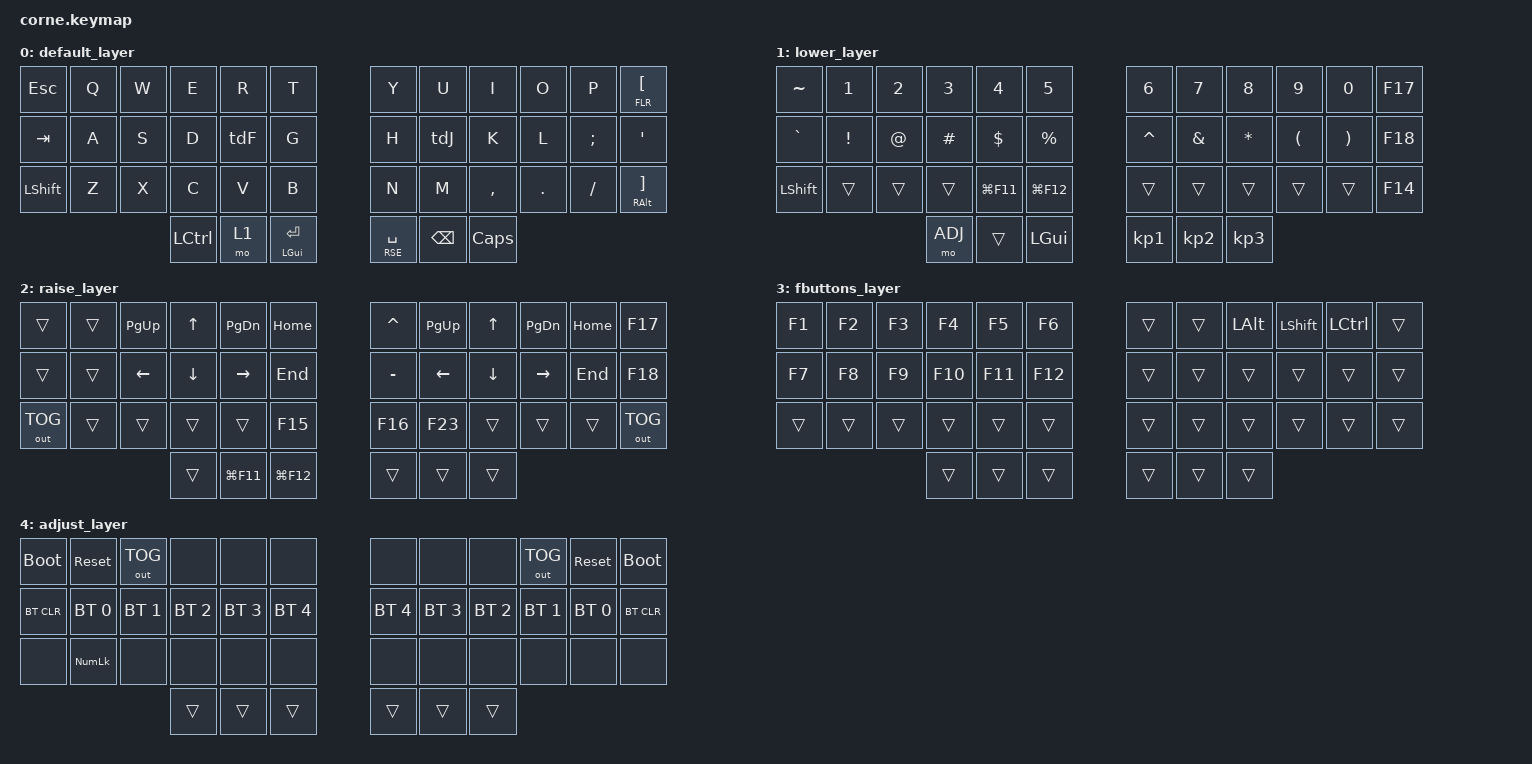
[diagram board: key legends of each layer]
/*
 * Copyright (c) 2020 The ZMK Contributors
 *
 * SPDX-License-Identifier: MIT
 */

#include <behaviors.dtsi>
#include <dt-bindings/zmk/keys.h>
#include <dt-bindings/zmk/bt.h>
#include <dt-bindings/zmk/outputs.h>
#include <behaviors.dtsi>

#define DEF 0
#define LWR 1
#define RSE 2
#define FLR 3
#define ADJ 4

&lt { quick_tap_ms = <219>; };
&mt { quick_tap_ms = <219>; };

/ {
    behaviors {
        tdF: tap_dance_lang1 {
            compatible = "zmk,behavior-tap-dance";
            #binding-cells = <0>;
            tapping-term-ms = <100>;
            bindings = <&kp F>, <&kp LG(F11)>;
        };
        tdJ: tap_dance_lang2 {
            compatible = "zmk,behavior-tap-dance";
            #binding-cells = <0>;
            tapping-term-ms = <100>;
            bindings = <&kp J>, <&kp LG(F12)>;
        };
        lh_pht: left_positional_hold_tap {
            compatible = "zmk,behavior-hold-tap";
            #binding-cells = <2>;
            flavor = "tap-unless-interrupted";
            tapping-term-ms = <100>;                        // <---[[produces tap if held longer than tapping-term-ms]]
            quick-tap-ms = <200>;
            bindings = <&kp>, <&kp>;
            hold-trigger-key-positions = <0 1 2 3 4 5>;    // <---[[right-hand keys]]
        };
    };

    combos {
        compatible = "zmk,combos";

        ParaLeft {
            bindings = <&kp LEFT_PARENTHESIS>;
            key-positions = <4 5>;
            timeout-ms = <20>;
        };

        ParaRight {
            bindings = <&kp RIGHT_PARENTHESIS>;
            key-positions = <6 7>;
            timeout-ms = <20>;
        };

        BrakLeft {
            bindings = <&kp LEFT_BRACKET>;
            key-positions = <16 17>;
            timeout-ms = <20>;
        };

        BrakRight {
            bindings = <&kp RIGHT_BRACKET>;
            key-positions = <18 19>;
            timeout-ms = <20>;
        };

        BraceLeft {
            bindings = <&kp LEFT_BRACE>;
            key-positions = <28 29>;
            timeout-ms = <20>;
        };

        BraceRight {
            bindings = <&kp RIGHT_BRACE>;
            key-positions = <30 31>;
            timeout-ms = <20>;
        };

        DoubleQuote {
            bindings = <&kp DOUBLE_QUOTES>;
            key-positions = <15 16>;
            timeout-ms = <20>;
        };

        SingleQuote {
            bindings = <&kp APOSTROPHE>;
            key-positions = <19 20>;
            timeout-ms = <20>;
        };

        //LangRu {
        //    bindings = <&kp LG(F11)>;
        //    key-positions = <0 1>;
        //    timeout-ms = <20>;
        //};

        //LangUs {
        //   bindings = <&kp LG(F12)>;
        //    key-positions = <10 11>;
        //    timeout-ms = <20>;
        //};

        //LangRuL {
        //    bindings = <&kp LG(F11)>;
        //    key-positions = <36 38>;
        //    timeout-ms = <20>;
        //};

        //LangUsL {
        //    bindings = <&kp LG(F12)>;
        //    key-positions = <39 41>;
        //    timeout-ms = <20>;
        //};

        TildaSign {
            bindings = <&kp TILDE>;
            key-positions = <0 12>;
            timeout-ms = <20>;
        };

        GraveSign {
            bindings = <&kp GRAVE>;
            key-positions = <12 24>;
            timeout-ms = <20>;
        };

        MinusSign {
            bindings = <&kp MINUS>;
            key-positions = <3 4>;
            timeout-ms = <20>;
        };

        PlusSign {
            bindings = <&kp PLUS>;
            key-positions = <2 3>;
            timeout-ms = <20>;
        };

        UnderscoreSign {
            bindings = <&kp UNDERSCORE>;
            key-positions = <7 8>;
            timeout-ms = <20>;
        };

        PipeSign {
            bindings = <&kp PIPE>;
            key-positions = <8 9>;
            timeout-ms = <20>;
        };
        Mainbootloaderleft {
            bindings = <&bootloader>;
            key-positions = <0 4>;
            timeout-ms = <20>;
        };
        Mainbootloaderright {
            bindings = <&bootloader>;
            key-positions = <7 11>;
            timeout-ms = <20>;
        };
    };
};
/ {
        keymap {
                compatible = "zmk,keymap";

                default_layer {
                        bindings = <
            // ╭─────────────┬─────────────┬─────────────┬─────────────┬─────────────┬─────────────╮   ╭─────────────┬─────────────┬─────────────┬─────────────┬─────────────┬─────────────╮
                  &kp ESC       &kp Q         &kp W         &kp E        &kp R         &kp T              &kp Y         &kp U         &kp I         &kp O         &kp P         &lt FLR LEFT_BRACKET
            // ├─────────────┼─────────────┼─────────────┼─────────────┼─────────────┼─────────────┤   ├─────────────┼─────────────┼─────────────┼─────────────┼─────────────┼─────────────┤
                  &kp TAB       &kp A         &kp S         &kp D        &tdF          &kp G              &kp H         &tdJ          &kp K         &kp L         &kp SEMI      &kp SQT 
            // ├─────────────┼─────────────┼─────────────┼─────────────┼─────────────┼─────────────┤   ├─────────────┼─────────────┼─────────────┼─────────────┼─────────────┼─────────────┤
                  &kp LSHFT     &kp Z         &kp X         &kp C        &kp V         &kp B              &kp N         &kp M         &kp COMMA     &kp DOT       &kp FSLH      &mt RALT RIGHT_BRACKET
            // ╰─────────────┴─────────────┼─────────────┼─────────────┼─────────────┼─────────────┤   ├─────────────┼─────────────┼─────────────┼─────────────┼─────────────┴─────────────╯
                                                            &kp LCTRL     &mo 1        &mt LGUI RET     &lt RSE SPACE   &kp BSPC     &kp CAPSLOCK
            //                                           ╰─────────────┴─────────────┴─────────────╯   ╰─────────────┴─────────────┴─────────────╯
                        >;
                };
                lower_layer {
                        bindings = <
            // ╭─────────────┬─────────────┬─────────────┬─────────────┬─────────────┬─────────────╮   ╭─────────────┬─────────────┬─────────────┬─────────────┬─────────────┬─────────────╮
                  &kp TILDE      &kp N1         &kp N2        &kp N3        &kp N4        &kp N5            &kp N6        &kp N7        &kp N8        &kp N9        &kp N0       &kp F17
            // ├─────────────┼─────────────┼─────────────┼─────────────┼─────────────┼─────────────┤   ├─────────────┼─────────────┼─────────────┼─────────────┼─────────────┼─────────────┤
                  &kp GRAVE      &kp EXCL       &kp AT       &kp HASH      &kp DLLR     &kp PRCNT         &kp CARET     &kp AMPS      &kp ASTRK      &kp LPAR      &kp RPAR      &kp F18
            // ├─────────────┼─────────────┼─────────────┼─────────────┼─────────────┼─────────────┤   ├─────────────┼─────────────┼─────────────┼─────────────┼─────────────┼─────────────┤
                  &kp LSHFT      &trans         &trans        &trans      &kp LG(F11)   &kp LG(F12)         &trans       &trans         &trans        &trans        &trans       &kp F14
            // ╰─────────────┴─────────────┼─────────────┼─────────────┼─────────────┼─────────────┤   ├─────────────┼─────────────┼─────────────┼─────────────┼─────────────┴─────────────╯
                                                             &mo ADJ        &trans       &kp LGUI         &kp KP_N1     &kp KP_N2     &kp KP_N3
            //                                           ╰─────────────┴─────────────┴─────────────╯   ╰─────────────┴─────────────┴─────────────╯
                        >;
                };
                raise_layer {
                        bindings = <
            // ╭─────────────┬─────────────┬─────────────┬─────────────┬─────────────┬─────────────╮   ╭─────────────┬─────────────┬─────────────┬─────────────┬─────────────┬─────────────╮
                   &trans         &trans     &kp PG_UP      &kp UP        &kp PG_DN     &kp HOME          &kp CARET     &kp PG_UP     &kp UP        &kp PG_DN     &kp HOME     &kp F17
            // ├─────────────┼─────────────┼─────────────┼─────────────┼─────────────┼─────────────┤   ├─────────────┼─────────────┼─────────────┼─────────────┼─────────────┼─────────────┤
                   &trans         &trans     &kp LEFT       &kp DOWN      &kp RIGHT     &kp END           &kp MINUS     &kp LEFT      &kp DOWN      &kp RIGHT     &kp END      &kp F18
            // ├─────────────┼─────────────┼─────────────┼─────────────┼─────────────┼─────────────┤   ├─────────────┼─────────────┼─────────────┼─────────────┼─────────────┼─────────────┤
                 &out OUT_TOG     &trans     &trans         &trans        &trans        &kp F15           &kp F16       &kp F23       &trans        &trans        &trans       &out OUT_TOG
            // ╰─────────────┴─────────────┼─────────────┼─────────────┼─────────────┼─────────────┤   ├─────────────┼─────────────┼─────────────┼─────────────┼─────────────┴─────────────╯
                                                              &trans     &kp LG(F11)   &kp LG(F12)            &trans        &trans        &trans
            //                                           ╰─────────────┴─────────────┴─────────────╯   ╰─────────────┴─────────────┴─────────────╯
                        >; 
                };
                fbuttons_layer {
                        bindings = <
            // ╭─────────────┬─────────────┬─────────────┬─────────────┬─────────────┬─────────────╮   ╭─────────────┬─────────────┬─────────────┬─────────────┬─────────────┬─────────────╮
                   &kp F1        &kp F2        &kp F3         &kp F4        &kp F5        &kp F6            &trans        &trans       &kp LALT     &kp LSHFT     &kp LCTRL      &trans
            // ├─────────────┼─────────────┼─────────────┼─────────────┼─────────────┼─────────────┤   ├─────────────┼─────────────┼─────────────┼─────────────┼─────────────┼─────────────┤
                   &kp F7        &kp F8        &kp F9         &kp F10       &kp F11       &kp F12           &trans        &trans       &trans       &trans        &trans         &trans
            // ├─────────────┼─────────────┼─────────────┼─────────────┼─────────────┼─────────────┤   ├─────────────┼─────────────┼─────────────┼─────────────┼─────────────┼─────────────┤
                   &trans        &trans        &trans         &trans        &trans        &trans            &trans        &trans       &trans       &trans        &trans         &trans
            // ╰─────────────┴─────────────┼─────────────┼─────────────┼─────────────┼─────────────┤   ├─────────────┼─────────────┼─────────────┼─────────────┼─────────────┴─────────────╯
                                                              &trans        &trans        &trans            &trans       &trans        &trans
            //                                           ╰─────────────┴─────────────┴─────────────╯   ╰─────────────┴─────────────┴─────────────╯
                        >; 
                };
                adjust_layer {
                        bindings = <
            // ╭─────────────┬─────────────┬─────────────┬─────────────┬─────────────┬─────────────╮   ╭─────────────┬─────────────┬─────────────┬─────────────┬─────────────┬─────────────╮
                 &bootloader    &sys_reset   &out OUT_TOG     &none         &none         &none             &none         &none         &none      &out OUT_TOG   &sys_reset   &bootloader
            // ├─────────────┼─────────────┼─────────────┼─────────────┼─────────────┼─────────────┤   ├─────────────┼─────────────┼─────────────┼─────────────┼─────────────┼─────────────┤
                 &bt BT_CLR    &bt BT_SEL 0  &bt BT_SEL 1  &bt BT_SEL 2  &bt BT_SEL 3  &bt BT_SEL 4      &bt BT_SEL 4  &bt BT_SEL 3   &bt BT_SEL 2  &bt BT_SEL 1  &bt BT_SEL 0  &bt BT_CLR
            // ├─────────────┼─────────────┼─────────────┼─────────────┼─────────────┼─────────────┤   ├─────────────┼─────────────┼─────────────┼─────────────┼─────────────┼─────────────┤
                   &none       &kp KP_NUM       &none         &none         &none         &none             &none         &none         &none         &none         &none         &none
            // ╰─────────────┴─────────────┼─────────────┼─────────────┼─────────────┼─────────────┤   ├─────────────┼─────────────┼─────────────┼─────────────┼─────────────┴─────────────╯
                                                              &trans        &trans        &trans            &trans        &trans        &trans
            //                                           ╰─────────────┴─────────────┴─────────────╯   ╰─────────────┴─────────────┴─────────────╯

                        >;
                };
        };
};
